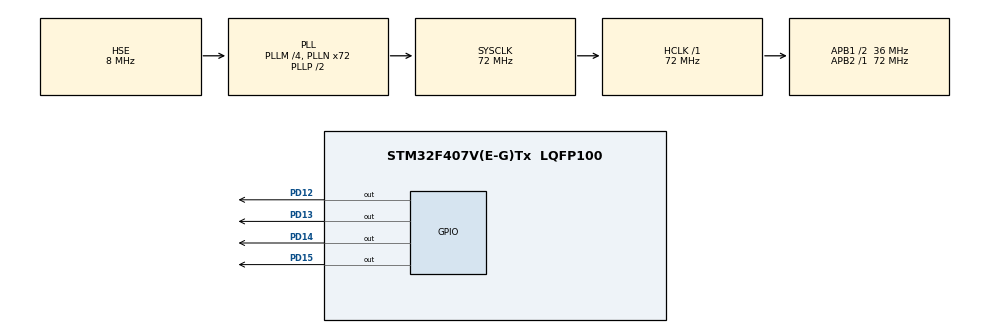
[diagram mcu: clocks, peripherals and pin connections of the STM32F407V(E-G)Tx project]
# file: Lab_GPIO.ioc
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Mcu.Family=STM32F4
Mcu.Name=STM32F407V(E-G)Tx
Mcu.Package=LQFP100
NVIC.PriorityGroup=NVIC_PRIORITYGROUP_4
PD12.GPIO_Speed=GPIO_SPEED_FREQ_VERY_HIGH
PD12.Signal=GPIO_Output
PD13.GPIO_Speed=GPIO_SPEED_FREQ_VERY_HIGH
PD13.Signal=GPIO_Output
PD14.GPIO_Speed=GPIO_SPEED_FREQ_VERY_HIGH
PD14.Signal=GPIO_Output
PD15.GPIO_Speed=GPIO_SPEED_FREQ_VERY_HIGH
PD15.Signal=GPIO_Output
PH0-OSC_IN.Mode=HSE-External-Oscillator
PH0-OSC_IN.Signal=RCC_OSC_IN
PH1-OSC_OUT.Mode=HSE-External-Oscillator
PH1-OSC_OUT.Signal=RCC_OSC_OUT
ProjectManager.HeapSize=0x200
ProjectManager.StackSize=0x400
ProjectManager.TargetToolchain=STM32CubeIDE
RCC.48MHZClocksFreq_Value=36000000
RCC.AHBFreq_Value=72000000
RCC.APB1CLKDivider=RCC_HCLK_DIV2
RCC.APB1Freq_Value=36000000
RCC.APB1TimFreq_Value=72000000
RCC.APB2Freq_Value=72000000
RCC.APB2TimFreq_Value=72000000
RCC.CortexFreq_Value=72000000
RCC.HCLKFreq_Value=72000000
RCC.HSE_VALUE=8000000
RCC.HSI_VALUE=16000000
RCC.LSE_VALUE=32768
RCC.PLLM=4
RCC.PLLN=72
RCC.PLLSourceVirtual=RCC_PLLSOURCE_HSE
RCC.SYSCLKFreq_VALUE=72000000
RCC.SYSCLKSource=RCC_SYSCLKSOURCE_PLLCLK
RCC.VCOOutputFreq_Value=144000000
board=custom

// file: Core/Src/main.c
/* USER CODE BEGIN Header */
/**
  ******************************************************************************
  * @file           : main.c
  * @brief          : Main program body
  ******************************************************************************
  * @attention
  *
  * Copyright (c) 2022 STMicroelectronics.
  * All rights reserved.
  *
  * This software is licensed under terms that can be found in the LICENSE file
  * in the root directory of this software component.
  * If no LICENSE file comes with this software, it is provided AS-IS.
  *
  ******************************************************************************
  */
/* USER CODE END Header */
#include "main.h"
#include "gpio.h"

void SystemClock_Config(void);

void SystemClock_Config(void)
{
  RCC_OscInitTypeDef RCC_OscInitStruct = {0};
  RCC_ClkInitTypeDef RCC_ClkInitStruct = {0};

  /** Configure the main internal regulator output voltage
  */
  __HAL_RCC_PWR_CLK_ENABLE();
  __HAL_PWR_VOLTAGESCALING_CONFIG(PWR_REGULATOR_VOLTAGE_SCALE1);

  /** Initializes the RCC Oscillators according to the specified parameters
  * in the RCC_OscInitTypeDef structure.
  */
  RCC_OscInitStruct.OscillatorType = RCC_OSCILLATORTYPE_HSE;
  RCC_OscInitStruct.HSEState = RCC_HSE_ON;
  RCC_OscInitStruct.PLL.PLLState = RCC_PLL_ON;
  RCC_OscInitStruct.PLL.PLLSource = RCC_PLLSOURCE_HSE;
  RCC_OscInitStruct.PLL.PLLM = 4;
  RCC_OscInitStruct.PLL.PLLN = 72;
  RCC_OscInitStruct.PLL.PLLP = RCC_PLLP_DIV2;
  RCC_OscInitStruct.PLL.PLLQ = 4;
  if (HAL_RCC_OscConfig(&RCC_OscInitStruct) != HAL_OK)
  {
    Error_Handler();
  }

  /** Initializes the CPU, AHB and APB buses clocks
  */
  RCC_ClkInitStruct.ClockType = RCC_CLOCKTYPE_HCLK|RCC_CLOCKTYPE_SYSCLK
                              |RCC_CLOCKTYPE_PCLK1|RCC_CLOCKTYPE_PCLK2;
  RCC_ClkInitStruct.SYSCLKSource = RCC_SYSCLKSOURCE_PLLCLK;
  RCC_ClkInitStruct.AHBCLKDivider = RCC_SYSCLK_DIV1;
  RCC_ClkInitStruct.APB1CLKDivider = RCC_HCLK_DIV2;
  RCC_ClkInitStruct.APB2CLKDivider = RCC_HCLK_DIV1;

  if (HAL_RCC_ClockConfig(&RCC_ClkInitStruct, FLASH_LATENCY_2) != HAL_OK)
  {
    Error_Handler();
  }
}

/* USER CODE BEGIN 4 */

int main(void) {
  int i = 0;
  HAL_Init();
  SystemClock_Config();
  MX_GPIO_Init();
  while(1) {
    for(i = 0; i < 10000; i++) {
      gpio_led_state(LED3_ORANGE_ID, 1);
      gpio_led_state(LED5_RED_ID, 1);
      gpio_led_state(LED4_GREEN_ID, 0);
      gpio_led_state(LED6_BLUE_ID, 0);
    }

    for(i = 0; i < 10000; i++) {
      gpio_led_state(LED3_ORANGE_ID, 0);
      gpio_led_state(LED5_RED_ID, 0);
      gpio_led_state(LED4_GREEN_ID, 1);
      gpio_led_state(LED6_BLUE_ID, 1);
    }
  }
}

/* USER CODE END 4 */

void Error_Handler(void)
{
  __disable_irq();
  while (1)
  {
  }
}
